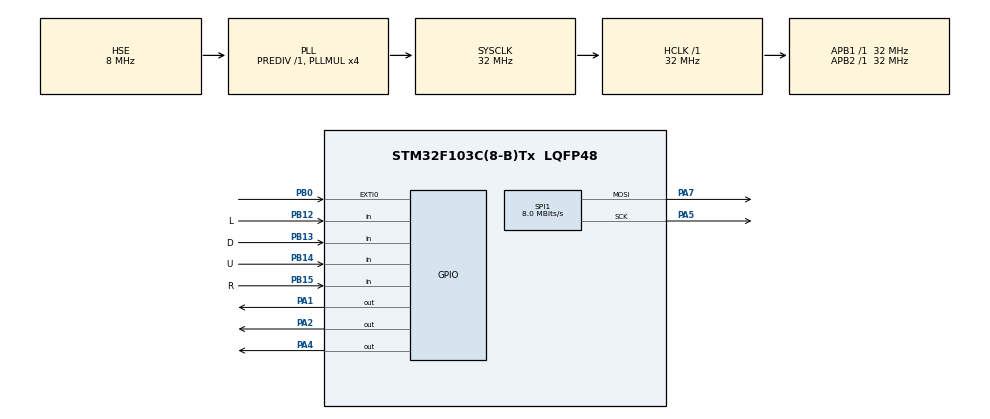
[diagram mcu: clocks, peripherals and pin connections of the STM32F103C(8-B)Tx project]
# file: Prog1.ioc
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Mcu.Family=STM32F1
Mcu.Name=STM32F103C(8-B)Tx
Mcu.Package=LQFP48
NVIC.PriorityGroup=NVIC_PRIORITYGROUP_4
PA1.GPIO_PuPd=GPIO_PULLDOWN
PA1.Signal=GPIO_Output
PA13.Mode=Serial_Wire
PA13.Signal=SYS_JTMS-SWDIO
PA14.Mode=Serial_Wire
PA14.Signal=SYS_JTCK-SWCLK
PA2.Signal=GPIO_Output
PA4.Signal=GPIO_Output
PA5.Mode=TX_Only_Simplex_Unidirect_Master
PA5.Signal=SPI1_SCK
PA7.Mode=TX_Only_Simplex_Unidirect_Master
PA7.Signal=SPI1_MOSI
PB0.GPIO_PuPd=GPIO_PULLUP
PB0.Signal=GPXTI0
PB12.GPIO_Label=L
PB12.GPIO_PuPd=GPIO_PULLUP
PB12.Signal=GPIO_Input
PB13.GPIO_Label=D
PB13.GPIO_PuPd=GPIO_PULLUP
PB13.Signal=GPIO_Input
PB14.GPIO_Label=U
PB14.GPIO_PuPd=GPIO_PULLUP
PB14.Signal=GPIO_Input
PB15.GPIO_Label=R
PB15.GPIO_PuPd=GPIO_PULLUP
PB15.Signal=GPIO_Input
PD0-OSC_IN.Mode=HSE-External-Oscillator
PD0-OSC_IN.Signal=RCC_OSC_IN
PD1-OSC_OUT.Mode=HSE-External-Oscillator
PD1-OSC_OUT.Signal=RCC_OSC_OUT
ProjectManager.HeapSize=0x200
ProjectManager.StackSize=0x400
ProjectManager.TargetToolchain=MDK-ARM V5.32
RCC.AHBFreq_Value=32000000
RCC.APB1Freq_Value=32000000
RCC.APB1TimFreq_Value=32000000
RCC.APB2Freq_Value=32000000
RCC.APB2TimFreq_Value=32000000
RCC.HCLKFreq_Value=32000000
RCC.PLLMUL=RCC_PLL_MUL4
RCC.PLLSourceVirtual=RCC_PLLSOURCE_HSE
RCC.SYSCLKFreq_VALUE=32000000
RCC.SYSCLKSource=RCC_SYSCLKSOURCE_PLLCLK
RCC.USBFreq_Value=32000000
SPI1.BaudRatePrescaler=SPI_BAUDRATEPRESCALER_4
SPI1.CalculateBaudRate=8.0 MBits/s
SPI1.Direction=SPI_DIRECTION_2LINES
SPI1.Mode=SPI_MODE_MASTER
SPI1.VirtualType=VM_MASTER
board=custom

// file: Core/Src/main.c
/* USER CODE BEGIN Header */
/**
  ******************************************************************************
  * @file           : main.c
  * @brief          : Main program body
  ******************************************************************************
  * @attention
  *
  * Copyright (c) 2022 STMicroelectronics.
  * All rights reserved.
  *
  * This software is licensed under terms that can be found in the LICENSE file
  * in the root directory of this software component.
  * If no LICENSE file comes with this software, it is provided AS-IS.
  *
  ******************************************************************************
  */
/* USER CODE END Header */
#include "main.h"
#include "ST7735.h"
//#include "fonts.h"
#include "font24.c"
#include "font20.c"
#include "font16.c"
#include "font12.c"
#include "font8.c"
/* USER CODE BEGIN Includes */
	//int x = 50;
	//int y = 50;//для рисовалки

short mass[21][21];
short res=1;

/* USER CODE END Includes */

/* USER CODE BEGIN PTD */
void input();
void output();
void live()
{
    bool *fatr ;
    short Cmass[21][21];
    int k = 0;
    /*---------------------------------------------------------------------*/
    for (int i = 0; i < 21; i++)
    {
        for (int j = 0; j < 21; j++)
        {
            Cmass[i][j] = mass[i][j];
        }
    }
    /*---------------------------------------------------------------------*/
    for (int i = 0; i < 21; i++)
    {
        for (int j = 0; j < 21; j++)
        {
            if (mass[i][j] == 0)
            {
                if (mass[i+1][j-1] == 1) k++;
                if (mass[i+1][j] == 1) k++;
                if (mass[i+1][j+1] == 1) k++;
                if (mass[i-1][j-1] == 1) k++;
                if (mass[i-1][j] == 1) k++;
                if (mass[i-1][j+1] == 1) k++;
                if (mass[i][j+1] == 1) k++;
                if (mass[i][j-1] == 1) k++;
                if (k == 3) Cmass[i][j] = 1;
                k = 0;
            }
            if (mass[i][j] == 1)
            {
                if (mass[i + 1][j - 1] == 1) k++;
                if (mass[i + 1][j] == 1) k++;
                if (mass[i + 1][j + 1] == 1) k++;
                if (mass[i - 1][j - 1] == 1) k++;
                if (mass[i - 1][j] == 1) k++;
                if (mass[i - 1][j + 1] == 1) k++;
                if (mass[i][j + 1] == 1) k++;
                if (mass[i][j - 1] == 1) k++;
                if (k > 3 || k < 2) Cmass[i][j] = 0;
                k = 0;
            }
        }
    }
    /*---------------------------------------------------------------------*/
    for (int i = 0; i < 21; i++)
    {
        for (int j = 0; j < 21; j++)
        {
            mass[i][j] = Cmass[i][j];
        }
    }

    /*---------------------------------------------------------------------*/
    /**fatr = false;
    for (int i = 0; i < 10; i++)
    {
        for (int j = 0; i < 10; i++)
        {
            if (mass[i][j] == 1)
            {
                *fatr = true;
            }
            if (*fatr) break;
        }
        if (*fatr) break;
    }
    if (!*fatr) res = 0;

    delete fatr;*/
}

void input()
	{
		int x = 3, y = 3;
    int a = 10 ;
    int g=0;
		int flag = 1;
    /*---------------------------------------------------------------------*/
    for (int i = 0; i < 21; i++)
        for (int j = 0; j < 21; j++)
        {
        mass[i][j] = 0;
        }
    /*---------------------------------------------------------------------*/

    while (flag == 1)
    {

				/*x = x+1;
        HAL_Delay(100);
        y = y+1;
        mass[x][y] = 1;
        output();
			  HAL_Delay(100);*/
				if( HAL_GPIO_ReadPin(GPIOB, GPIO_PIN_12) == GPIO_PIN_RESET )//Left
		{
	    //ST7735_FillScreen(ST7735_COLOR_RED );
	//ST7735_DrawPixel(x, y, ST7735_COLOR_BLACK);
			x--;
			mass[x][y] = 1;
      HAL_Delay(20);
			output();

		}

	if( HAL_GPIO_ReadPin(GPIOB, GPIO_PIN_13) == GPIO_PIN_RESET )//Down
		{
	   //ST7735_DrawPixel(x, y, ST7735_COLOR_BLACK);
			y++;
			mass[x][y] = 1;
      HAL_Delay(20);
			output();

		}

	if( HAL_GPIO_ReadPin(GPIOB, GPIO_PIN_14) == GPIO_PIN_RESET )//Up
		{
	    //ST7735_DrawPixel(x, y, ST7735_COLOR_BLACK);
			y--;
			mass[x][y] = 1;
      HAL_Delay(20);
			output();

		}

	if( HAL_GPIO_ReadPin(GPIOB, GPIO_PIN_15) == GPIO_PIN_RESET )//Right
		{
	   //ST7735_DrawPixel(x, y, ST7735_COLOR_BLACK);
			x++;
			mass[x][y] = 1;
      HAL_Delay(20);
			output();

		}

				if( HAL_GPIO_ReadPin(GPIOB, GPIO_PIN_0) == GPIO_PIN_RESET )//start button
				{
					flag = 0;
				}

		}
	}
void output()
{
 for (int i = 0; i < 21; i++)
    {
        for (int j = 0; j < 21; j++)
        {
        if (mass[i][j] == 1)
            {
							//HAL_Delay(10);
              ST7735_DrawRect(i*4, j*4, i*4+4, j*4+4, ST7735_COLOR_BLACK);
							//ST7735_DrawPixel(i, j, ST7735_COLOR_BLACK);
            }
        }

	}
}

/*---------------------------------------------------------------------*/
/* USER CODE END PTD */

SPI_HandleTypeDef hspi1;

void SystemClock_Config(void);
static void MX_GPIO_Init(void);
static void MX_SPI1_Init(void);

/* USER CODE BEGIN 0 */
extern unsigned short testImage[];

/* USER CODE END 0 */

int main(void)
{

  /* MCU Configuration--------------------------------------------------------*/

  /* Reset of all peripherals, Initializes the Flash interface and the Systick. */
  HAL_Init();

  /* Configure the system clock */
  SystemClock_Config();

  /* Initialize all configured peripherals */
  MX_GPIO_Init();
  MX_SPI1_Init();
  /* USER CODE BEGIN 2 */
	ST7735_Init();

  // Demo 2

	// End of demo 2

    ST7735_FillScreen(ST7735_COLOR_WHITE );

	input();
  /* USER CODE END 2 */

  /* Infinite loop */
  /* USER CODE BEGIN WHILE */
  while (1)
  {
	ST7735_FillScreen(ST7735_COLOR_WHITE );
	live();
	output();
    /* USER CODE END WHILE */

  }
}

void SystemClock_Config(void)
{
  RCC_OscInitTypeDef RCC_OscInitStruct = {0};
  RCC_ClkInitTypeDef RCC_ClkInitStruct = {0};

  /** Initializes the RCC Oscillators according to the specified parameters
  * in the RCC_OscInitTypeDef structure.
  */
  RCC_OscInitStruct.OscillatorType = RCC_OSCILLATORTYPE_HSE;
  RCC_OscInitStruct.HSEState = RCC_HSE_ON;
  RCC_OscInitStruct.HSEPredivValue = RCC_HSE_PREDIV_DIV1;
  RCC_OscInitStruct.HSIState = RCC_HSI_ON;
  RCC_OscInitStruct.PLL.PLLState = RCC_PLL_ON;
  RCC_OscInitStruct.PLL.PLLSource = RCC_PLLSOURCE_HSE;
  RCC_OscInitStruct.PLL.PLLMUL = RCC_PLL_MUL4;
  if (HAL_RCC_OscConfig(&RCC_OscInitStruct) != HAL_OK)
  {
    Error_Handler();
  }

  /** Initializes the CPU, AHB and APB buses clocks
  */
  RCC_ClkInitStruct.ClockType = RCC_CLOCKTYPE_HCLK|RCC_CLOCKTYPE_SYSCLK
                              |RCC_CLOCKTYPE_PCLK1|RCC_CLOCKTYPE_PCLK2;
  RCC_ClkInitStruct.SYSCLKSource = RCC_SYSCLKSOURCE_PLLCLK;
  RCC_ClkInitStruct.AHBCLKDivider = RCC_SYSCLK_DIV1;
  RCC_ClkInitStruct.APB1CLKDivider = RCC_HCLK_DIV1;
  RCC_ClkInitStruct.APB2CLKDivider = RCC_HCLK_DIV1;

  if (HAL_RCC_ClockConfig(&RCC_ClkInitStruct, FLASH_LATENCY_1) != HAL_OK)
  {
    Error_Handler();
  }
}

static void MX_SPI1_Init(void)
{

  /* SPI1 parameter configuration*/
  hspi1.Instance = SPI1;
  hspi1.Init.Mode = SPI_MODE_MASTER;
  hspi1.Init.Direction = SPI_DIRECTION_2LINES;
  hspi1.Init.DataSize = SPI_DATASIZE_8BIT;
  hspi1.Init.CLKPolarity = SPI_POLARITY_LOW;
  hspi1.Init.CLKPhase = SPI_PHASE_1EDGE;
  hspi1.Init.NSS = SPI_NSS_SOFT;
  hspi1.Init.BaudRatePrescaler = SPI_BAUDRATEPRESCALER_4;
  hspi1.Init.FirstBit = SPI_FIRSTBIT_MSB;
  hspi1.Init.TIMode = SPI_TIMODE_DISABLE;
  hspi1.Init.CRCCalculation = SPI_CRCCALCULATION_DISABLE;
  hspi1.Init.CRCPolynomial = 10;
  if (HAL_SPI_Init(&hspi1) != HAL_OK)
  {
    Error_Handler();
  }

}

static void MX_GPIO_Init(void)
{
  GPIO_InitTypeDef GPIO_InitStruct = {0};

  /* GPIO Ports Clock Enable */
  __HAL_RCC_GPIOD_CLK_ENABLE();
  __HAL_RCC_GPIOA_CLK_ENABLE();
  __HAL_RCC_GPIOB_CLK_ENABLE();

  /*Configure GPIO pin Output Level */
  HAL_GPIO_WritePin(GPIOA, GPIO_PIN_1|GPIO_PIN_2|GPIO_PIN_4, GPIO_PIN_RESET);

  /*Configure GPIO pin : PA1 */
  GPIO_InitStruct.Pin = GPIO_PIN_1;
  GPIO_InitStruct.Mode = GPIO_MODE_OUTPUT_PP;
  GPIO_InitStruct.Pull = GPIO_PULLDOWN;
  GPIO_InitStruct.Speed = GPIO_SPEED_FREQ_LOW;
  HAL_GPIO_Init(GPIOA, &GPIO_InitStruct);

  /*Configure GPIO pins : PA2 PA4 */
  GPIO_InitStruct.Pin = GPIO_PIN_2|GPIO_PIN_4;
  GPIO_InitStruct.Mode = GPIO_MODE_OUTPUT_PP;
  GPIO_InitStruct.Pull = GPIO_NOPULL;
  GPIO_InitStruct.Speed = GPIO_SPEED_FREQ_LOW;
  HAL_GPIO_Init(GPIOA, &GPIO_InitStruct);

  /*Configure GPIO pin : PB0 */
  GPIO_InitStruct.Pin = GPIO_PIN_0;
  GPIO_InitStruct.Mode = GPIO_MODE_IT_RISING;
  GPIO_InitStruct.Pull = GPIO_PULLUP;
  HAL_GPIO_Init(GPIOB, &GPIO_InitStruct);

  /*Configure GPIO pins : L_Pin D_Pin U_Pin R_Pin */
  GPIO_InitStruct.Pin = L_Pin|D_Pin|U_Pin|R_Pin;
  GPIO_InitStruct.Mode = GPIO_MODE_INPUT;
  GPIO_InitStruct.Pull = GPIO_PULLUP;
  HAL_GPIO_Init(GPIOB, &GPIO_InitStruct);

}

void Error_Handler(void)
{
  __disable_irq();
  while (1)
  {
  }
}
